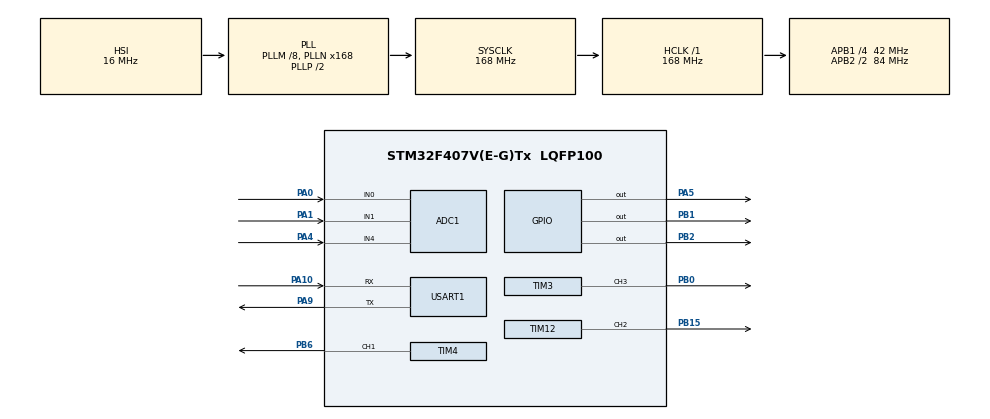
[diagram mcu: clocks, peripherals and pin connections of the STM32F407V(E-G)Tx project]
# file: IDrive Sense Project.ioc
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ADC1.Channel-1\#ChannelRegularConversion=ADC_CHANNEL_0
ADC1.NbrOfConversionFlag=1
ADC1.Rank-1\#ChannelRegularConversion=1
ADC1.SamplingTime-1\#ChannelRegularConversion=ADC_SAMPLETIME_3CYCLES
ADC1.master=1
Mcu.Family=STM32F4
Mcu.Name=STM32F407V(E-G)Tx
Mcu.Package=LQFP100
NVIC.PriorityGroup=NVIC_PRIORITYGROUP_4
PA0-WKUP.Signal=ADCx_IN0
PA1.Signal=ADCx_IN1
PA10.Mode=Asynchronous
PA10.Signal=USART1_RX
PA13.Mode=Serial_Wire
PA13.Signal=SYS_JTMS-SWDIO
PA14.Mode=Serial_Wire
PA14.Signal=SYS_JTCK-SWCLK
PA4.Signal=ADCx_IN4
PA5.Signal=GPIO_Output
PA9.Mode=Asynchronous
PA9.Signal=USART1_TX
PB0.Signal=S_TIM3_CH3
PB1.Signal=GPIO_Output
PB15.Signal=S_TIM12_CH2
PB2.GPIO_PuPd=GPIO_PULLUP
PB2.Signal=GPIO_Output
PB6.Signal=S_TIM4_CH1
PH0-OSC_IN.Mode=HSE-External-Oscillator
PH0-OSC_IN.Signal=RCC_OSC_IN
PH1-OSC_OUT.Mode=HSE-External-Oscillator
PH1-OSC_OUT.Signal=RCC_OSC_OUT
ProjectManager.HeapSize=0x200
ProjectManager.StackSize=0x400
ProjectManager.TargetToolchain=STM32CubeIDE
RCC.48MHZClocksFreq_Value=84000000
RCC.AHBFreq_Value=168000000
RCC.APB1CLKDivider=RCC_HCLK_DIV4
RCC.APB1Freq_Value=42000000
RCC.APB1TimFreq_Value=84000000
RCC.APB2CLKDivider=RCC_HCLK_DIV2
RCC.APB2Freq_Value=84000000
RCC.APB2TimFreq_Value=168000000
RCC.CortexFreq_Value=168000000
RCC.HCLKFreq_Value=168000000
RCC.HSE_VALUE=8000000
RCC.HSI_VALUE=16000000
RCC.LSE_VALUE=32768
RCC.PLLM=8
RCC.PLLN=168
RCC.SYSCLKFreq_VALUE=168000000
RCC.SYSCLKSource=RCC_SYSCLKSOURCE_PLLCLK
RCC.VCOOutputFreq_Value=336000000
SH.ADCx_IN0.0=ADC1_IN0,IN0
SH.ADCx_IN1.0=ADC1_IN1,IN1
SH.ADCx_IN4.0=ADC1_IN4,IN4
SH.S_TIM12_CH2.0=TIM12_CH2,PWM Generation2 CH2
SH.S_TIM3_CH3.0=TIM3_CH3,PWM Generation3 CH3
SH.S_TIM4_CH1.0=TIM4_CH1,PWM Generation1 CH1
TIM1.Prescaler=168 - 1
TIM12.Channel-PWM\ Generation2\ CH2=TIM_CHANNEL_2
TIM12.Period=20000 - 1
TIM12.Prescaler=84 - 1
TIM3.Channel-PWM\ Generation3\ CH3=TIM_CHANNEL_3
TIM3.Period=1000 - 1
TIM3.Prescaler=84 - 1
TIM4.Channel-PWM\ Generation1\ CH1=TIM_CHANNEL_1
TIM4.Period=20000 - 1
TIM4.Prescaler=84 - 1
USART1.VirtualMode=VM_ASYNC
VP_TIM12_VS_ClockSourceINT.Mode=Internal
VP_TIM1_VS_ClockSourceINT.Mode=Internal
VP_TIM3_VS_ClockSourceINT.Mode=Internal
VP_TIM4_VS_ClockSourceINT.Mode=Internal
board=custom

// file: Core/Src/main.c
/* USER CODE BEGIN Header */
/**
  ******************************************************************************
  * @file           : main.c
  * @brief          : Merged Project - iDrive Sense (Wiper, Window, AC, Gas, Light)
  ******************************************************************************
  */
/* USER CODE END Header */

#include "main.h"

/* USER CODE BEGIN Includes */
#include "stdbool.h"
#include <stdio.h>
#include <string.h>
/* USER CODE END Includes */

ADC_HandleTypeDef hadc1;

TIM_HandleTypeDef htim1;
TIM_HandleTypeDef htim3;
TIM_HandleTypeDef htim4;
TIM_HandleTypeDef htim12;

UART_HandleTypeDef huart1;

/* USER CODE BEGIN PV */
// ===================================================
// 1. Biến cho Mưa & Động cơ (Servo/Fan)
// ===================================================
uint16_t rainADCValue = 0;
bool isWindowClosed = false;
uint32_t previousWiperTick = 0;
uint16_t wiperDelay = 1000;
bool wiperDirection = false;

// ===================================================
// 2. Biến cho Nhiệt độ độ ẩm (DHT11) - Chân PA5
// ===================================================
uint8_t Rh_byte1, Rh_byte2, Temp_byte1, Temp_byte2;
uint16_t SUM;
uint8_t Presence = 0;
uint8_t Temperature = 0;
uint8_t Humidity = 0;

// ===================================================
// 3. Biến cho Khí thải MQ-135
// ===================================================
uint32_t mq135_adc_value;
#define MQ135_SAFE_LEVEL   600   // Trên 600: An toàn
#define MQ135_DANGER_LEVEL 450   // Dưới 450: Thổi CO2 vào -> Báo động
#define ADC_FILTER_SIZE 10

uint32_t adc_buffer[ADC_FILTER_SIZE];
uint8_t adc_index = 0;
uint32_t adc_sum = 0;
uint8_t buffer_filled = 0;

uint8_t buzzer_state = 0;  // 0: An toàn, 1: Báo động
uint32_t buzzer_timer = 0;

// ===================================================
// 4. Biến cho Ánh sáng LDR
// ===================================================
uint32_t ldr_adc_value;
#define LDR_THRESHOLD_ON  3000   // Vượt 3000 -> Bật đèn
#define LDR_THRESHOLD_OFF 2800   // Dưới 2800 -> Tắt đèn (tránh dao động)
uint8_t led_state = 0;

/* USER CODE END PV */

void SystemClock_Config(void);
static void MX_GPIO_Init(void);
static void MX_ADC1_Init(void);
static void MX_TIM1_Init(void);
static void MX_TIM3_Init(void);
static void MX_TIM4_Init(void);
static void MX_TIM12_Init(void);
static void MX_USART1_UART_Init(void);
/* USER CODE BEGIN PFP */
uint32_t Read_ADC_Channel(uint32_t channel);
uint32_t Read_ADC_Filtered(uint32_t channel);
/* USER CODE END PFP */

/* USER CODE BEGIN 0 */
int _write(int file, char *ptr, int len) {
    HAL_UART_Transmit(&huart1, (uint8_t *)ptr, len, HAL_MAX_DELAY);
    return len;
}

// -----------------------------------------------------------
// HÀM ĐỌC ADC CHUNG (Chia sẻ giữa Mưa, Khí và Ánh sáng)
// -----------------------------------------------------------
uint32_t Read_ADC_Channel(uint32_t channel) {
    ADC_ChannelConfTypeDef sConfig = {0};
    sConfig.Channel = channel;
    sConfig.Rank = 1;
    sConfig.SamplingTime = ADC_SAMPLETIME_15CYCLES;

    HAL_ADC_ConfigChannel(&hadc1, &sConfig);
    HAL_ADC_Start(&hadc1);

    uint32_t value = 0;
    if (HAL_ADC_PollForConversion(&hadc1, 10) == HAL_OK) {
        value = HAL_ADC_GetValue(&hadc1);
    }
    HAL_ADC_Stop(&hadc1);
    return value;
}

// Bộ lọc trung bình động cho cảm biến khí MQ-135
uint32_t Read_ADC_Filtered(uint32_t channel) {
    uint32_t raw = Read_ADC_Channel(channel);
    adc_sum -= adc_buffer[adc_index];
    adc_buffer[adc_index] = raw;
    adc_sum += raw;
    adc_index = (adc_index + 1) % ADC_FILTER_SIZE;
    if (adc_index == 0) buffer_filled = 1;

    uint8_t count = buffer_filled ? ADC_FILTER_SIZE : adc_index;
    if (count == 0) return raw;
    return adc_sum / count;
}

// -----------------------------------------------------------
// HÀM ĐIỀU KHIỂN ĐỘNG CƠ (Delay, Servo)
// -----------------------------------------------------------
void delay_us(uint16_t us) {
    __HAL_TIM_SET_COUNTER(&htim1, 0);
    while (__HAL_TIM_GET_COUNTER(&htim1) < us);
}

void Set_Servo_Angle(TIM_HandleTypeDef *htim, uint32_t Channel, uint8_t angle) {
    uint16_t pulse = 500 + ((angle * 2000) / 180);
    __HAL_TIM_SET_COMPARE(htim, Channel, pulse);
}

// -----------------------------------------------------------
// HÀM GIAO TIẾP DHT11 (Chân PA5)
// -----------------------------------------------------------
void Set_Pin_Output(GPIO_TypeDef *GPIOx, uint16_t GPIO_Pin) {
    GPIO_InitTypeDef GPIO_InitStruct = {0};
    GPIO_InitStruct.Pin = GPIO_Pin;
    GPIO_InitStruct.Mode = GPIO_MODE_OUTPUT_PP;
    GPIO_InitStruct.Speed = GPIO_SPEED_FREQ_LOW;
    HAL_GPIO_Init(GPIOx, &GPIO_InitStruct);
}

void Set_Pin_Input(GPIO_TypeDef *GPIOx, uint16_t GPIO_Pin) {
    GPIO_InitTypeDef GPIO_InitStruct = {0};
    GPIO_InitStruct.Pin = GPIO_Pin;
    GPIO_InitStruct.Mode = GPIO_MODE_INPUT;
    GPIO_InitStruct.Pull = GPIO_PULLUP;
    HAL_GPIO_Init(GPIOx, &GPIO_InitStruct);
}

uint8_t DHT11_Check_Response(void) {
    uint16_t timeout = 0;
    while (HAL_GPIO_ReadPin(GPIOA, GPIO_PIN_5) == GPIO_PIN_SET) {
        timeout++; delay_us(1); if (timeout > 100) return 0;
    }
    timeout = 0;
    while (HAL_GPIO_ReadPin(GPIOA, GPIO_PIN_5) == GPIO_PIN_RESET) {
        timeout++; delay_us(1); if (timeout > 100) return 0;
    }
    timeout = 0;
    while (HAL_GPIO_ReadPin(GPIOA, GPIO_PIN_5) == GPIO_PIN_SET) {
        timeout++; delay_us(1); if (timeout > 100) return 0;
    }
    return 1;
}

uint8_t DHT11_Read_Byte(void) {
    uint8_t i = 0, j;
    uint16_t timeout = 0;
    for (j = 0; j < 8; j++) {
        timeout = 0;
        while (HAL_GPIO_ReadPin(GPIOA, GPIO_PIN_5) == GPIO_PIN_RESET) {
            timeout++; delay_us(1); if (timeout > 100) return 0;
        }
        delay_us(35);
        if (HAL_GPIO_ReadPin(GPIOA, GPIO_PIN_5) == GPIO_PIN_SET) {
            i |= (1 << (7 - j));
            timeout = 0;
            while (HAL_GPIO_ReadPin(GPIOA, GPIO_PIN_5) == GPIO_PIN_SET) {
                timeout++; delay_us(1); if (timeout > 100) break;
            }
        } else {
            i &= ~(1 << (7 - j));
        }
    }
    return i;
}

void DHT11_Read_Data(void) {
    Set_Pin_Output(GPIOA, GPIO_PIN_5);
    HAL_GPIO_WritePin(GPIOA, GPIO_PIN_5, 0);
    HAL_Delay(18);

    __disable_irq();

    HAL_GPIO_WritePin(GPIOA, GPIO_PIN_5, 1);
    delay_us(30);
    Set_Pin_Input(GPIOA, GPIO_PIN_5);

    Presence = DHT11_Check_Response();
    if (Presence == 1) {
        Rh_byte1   = DHT11_Read_Byte();
        Rh_byte2   = DHT11_Read_Byte();
        Temp_byte1 = DHT11_Read_Byte();
        Temp_byte2 = DHT11_Read_Byte();
        SUM        = DHT11_Read_Byte();
    }
    __enable_irq();
}
/* USER CODE END 0 */

int main(void)
{
  HAL_Init();
  SystemClock_Config();

  MX_GPIO_Init();
  MX_ADC1_Init();
  MX_TIM1_Init();
  MX_TIM3_Init();
  MX_TIM4_Init();
  MX_TIM12_Init();
  MX_USART1_UART_Init();

  /* USER CODE BEGIN 2 */
  HAL_UART_Transmit(&huart1, (uint8_t*)"\r\n>>> MULTI-SENSOR SYSTEM INIT OK <<<\r\n", 39, 1000);

  HAL_TIM_PWM_Start(&htim12, TIM_CHANNEL_2); // Gạt mưa (PB15)
  HAL_TIM_PWM_Start(&htim4, TIM_CHANNEL_1);  // Kính xe (PB6)
  HAL_TIM_PWM_Start(&htim3, TIM_CHANNEL_3);  // Quạt (PB0)
  HAL_TIM_Base_Start(&htim1);                // Timer delay_us

  Set_Servo_Angle(&htim12, TIM_CHANNEL_2, 0);
  Set_Servo_Angle(&htim4, TIM_CHANNEL_1, 0);
  HAL_Delay(1000);

  uint32_t previousDHT11Tick = 0;
  /* USER CODE END 2 */

  /* Infinite loop */
  /* USER CODE BEGIN WHILE */
  while (1)
  {
      // =========================================================
      // 1. CẢM BIẾN MƯA (ADC1_IN1 - PA1) & CỬA KÍNH (PB6) & CẦN GẠT (PB15)
      // =========================================================
      rainADCValue = Read_ADC_Channel(ADC_CHANNEL_1);

      // --- Logic Đóng/Mở Kính Xe ---
      if (rainADCValue < 3500) {
          if (!isWindowClosed) {
              Set_Servo_Angle(&htim4, TIM_CHANNEL_1, 180); // Đóng cửa kính
              isWindowClosed = true;
          }
      } else if (rainADCValue > 4000) {
          if (isWindowClosed) {
              Set_Servo_Angle(&htim4, TIM_CHANNEL_1, 0);   // Trả về vị trí ban đầu
              isWindowClosed = false;
          }
      }

      // --- Logic Tốc Độ Cần Gạt Mưa ---
      if (rainADCValue < 3500) {
          // Phân cấp tốc độ gạt mưa dựa vào mức độ mưa
          if (rainADCValue < 2000) {
              wiperDelay = 300;   // Tốc độ 100% (Gạt rất nhanh)
          } else if (rainADCValue < 2500) {
              wiperDelay = 500;   // Tốc độ 75%
          } else if (rainADCValue < 3000) {
              wiperDelay = 800;   // Tốc độ 50%
          } else {
              wiperDelay = 1200;  // Tốc độ 25% (Gạt chậm)
          }

          // Thực hiện gạt qua lại theo chu kỳ wiperDelay
          uint32_t currentTick = HAL_GetTick();
          if (currentTick - previousWiperTick >= wiperDelay) {
              previousWiperTick = currentTick;
              if (!wiperDirection) {
                  Set_Servo_Angle(&htim12, TIM_CHANNEL_2, 180);
                  wiperDirection = true;
              } else {
                  Set_Servo_Angle(&htim12, TIM_CHANNEL_2, 0);
                  wiperDirection = false;
              }
          }
      } else { // Trời khô ráo (ADC >= 3500) -> Tắt gạt mưa
          Set_Servo_Angle(&htim12, TIM_CHANNEL_2, 0);
          wiperDirection = false;
      }

      // =========================================================
      // 2. CẢM BIẾN KHÍ MQ-135 (ADC1_IN0 - PA0)
      // =========================================================
      mq135_adc_value = Read_ADC_Filtered(ADC_CHANNEL_0);

      // Thổi CO2 vào làm giá trị ADC giảm
      if (mq135_adc_value < MQ135_DANGER_LEVEL) {
          buzzer_state = 1; // Báo động (Khi ADC < 450)
      } else if (mq135_adc_value > MQ135_SAFE_LEVEL) {
          buzzer_state = 0; // An toàn (Khi ADC > 600)
      }

      // Bật đèn cảnh báo nhấp nháy liên tục (Chu kỳ 200ms)
      if (buzzer_state == 1) {
          if (HAL_GetTick() - buzzer_timer >= 200) {
              buzzer_timer = HAL_GetTick();
              HAL_GPIO_TogglePin(GPIOB, GPIO_PIN_1); // Đảo trạng thái đèn PB1
          }
      } else {
          HAL_GPIO_WritePin(GPIOB, GPIO_PIN_1, GPIO_PIN_RESET); // Tắt đèn khi an toàn
      }

      // =========================================================
      // 3. CẢM BIẾN ÁNH SÁNG LDR (ADC1_IN4 - PA4)
      // =========================================================
      ldr_adc_value = Read_ADC_Channel(ADC_CHANNEL_4);

      if (ldr_adc_value > LDR_THRESHOLD_ON) {
          led_state = 1; // Vượt 3000 -> Tự động bật đèn cabin (PB2)
      } else if (ldr_adc_value < LDR_THRESHOLD_OFF) {
          led_state = 0; // Dưới 2800 -> Tắt đèn cabin
      }
      HAL_GPIO_WritePin(GPIOB, GPIO_PIN_2, led_state ? GPIO_PIN_SET : GPIO_PIN_RESET);

      // =========================================================
      // 4. CẢM BIẾN NHIỆT ĐỘ DHT11 (PA5) & QUẠT DC (PB0)
      // =========================================================
      if (HAL_GetTick() - previousDHT11Tick >= 1000)
      {
            previousDHT11Tick = HAL_GetTick();
            DHT11_Read_Data();

            if (Presence == 1 && ((uint8_t)(Rh_byte1 + Rh_byte2 + Temp_byte1 + Temp_byte2) == SUM)) {
                Temperature = Temp_byte1;
                Humidity    = Rh_byte1;

                if (Temperature > 30) {
                    __HAL_TIM_SET_COMPARE(&htim3, TIM_CHANNEL_3, 1000); // Quay 100%
                } else if (Temperature > 25) {
                    __HAL_TIM_SET_COMPARE(&htim3, TIM_CHANNEL_3, 750);  // Quay 75%
                } else if (Temperature > 20) {
                    __HAL_TIM_SET_COMPARE(&htim3, TIM_CHANNEL_3, 500);  // Quay 50%
                } else if (Temperature > 15) {
                    __HAL_TIM_SET_COMPARE(&htim3, TIM_CHANNEL_3, 250);  // Quay 25%
                } else {
                    __HAL_TIM_SET_COMPARE(&htim3, TIM_CHANNEL_3, 0);    // Tắt hoàn toàn
                }
            }
      }
    /* USER CODE END WHILE */

  }
}

void SystemClock_Config(void)
{
  RCC_OscInitTypeDef RCC_OscInitStruct = {0};
  RCC_ClkInitTypeDef RCC_ClkInitStruct = {0};

  __HAL_RCC_PWR_CLK_ENABLE();
  __HAL_PWR_VOLTAGESCALING_CONFIG(PWR_REGULATOR_VOLTAGE_SCALE1);

  RCC_OscInitStruct.OscillatorType = RCC_OSCILLATORTYPE_HSI;
  RCC_OscInitStruct.HSIState = RCC_HSI_ON;
  RCC_OscInitStruct.HSICalibrationValue = RCC_HSICALIBRATION_DEFAULT;
  RCC_OscInitStruct.PLL.PLLState = RCC_PLL_ON;
  RCC_OscInitStruct.PLL.PLLSource = RCC_PLLSOURCE_HSI;
  RCC_OscInitStruct.PLL.PLLM = 8;
  RCC_OscInitStruct.PLL.PLLN = 168;
  RCC_OscInitStruct.PLL.PLLP = RCC_PLLP_DIV2;
  RCC_OscInitStruct.PLL.PLLQ = 4;
  if (HAL_RCC_OscConfig(&RCC_OscInitStruct) != HAL_OK)
  {
    Error_Handler();
  }

  RCC_ClkInitStruct.ClockType = RCC_CLOCKTYPE_HCLK|RCC_CLOCKTYPE_SYSCLK
                              |RCC_CLOCKTYPE_PCLK1|RCC_CLOCKTYPE_PCLK2;
  RCC_ClkInitStruct.SYSCLKSource = RCC_SYSCLKSOURCE_PLLCLK;
  RCC_ClkInitStruct.AHBCLKDivider = RCC_SYSCLK_DIV1;
  RCC_ClkInitStruct.APB1CLKDivider = RCC_HCLK_DIV4;
  RCC_ClkInitStruct.APB2CLKDivider = RCC_HCLK_DIV2;

  if (HAL_RCC_ClockConfig(&RCC_ClkInitStruct, FLASH_LATENCY_5) != HAL_OK)
  {
    Error_Handler();
  }
}

static void MX_ADC1_Init(void)
{
  ADC_ChannelConfTypeDef sConfig = {0};

  hadc1.Instance = ADC1;
  hadc1.Init.ClockPrescaler = ADC_CLOCK_SYNC_PCLK_DIV4;
  hadc1.Init.Resolution = ADC_RESOLUTION_12B;
  hadc1.Init.ScanConvMode = DISABLE;
  hadc1.Init.ContinuousConvMode = DISABLE;
  hadc1.Init.DiscontinuousConvMode = DISABLE;
  hadc1.Init.ExternalTrigConvEdge = ADC_EXTERNALTRIGCONVEDGE_NONE;
  hadc1.Init.ExternalTrigConv = ADC_SOFTWARE_START;
  hadc1.Init.DataAlign = ADC_DATAALIGN_RIGHT;
  hadc1.Init.NbrOfConversion = 1;
  hadc1.Init.DMAContinuousRequests = DISABLE;
  hadc1.Init.EOCSelection = ADC_EOC_SINGLE_CONV;
  if (HAL_ADC_Init(&hadc1) != HAL_OK)
  {
    Error_Handler();
  }

  sConfig.Channel = ADC_CHANNEL_0;
  sConfig.Rank = 1;
  sConfig.SamplingTime = ADC_SAMPLETIME_3CYCLES;
  if (HAL_ADC_ConfigChannel(&hadc1, &sConfig) != HAL_OK)
  {
    Error_Handler();
  }
}

static void MX_TIM1_Init(void)
{
  TIM_ClockConfigTypeDef sClockSourceConfig = {0};
  TIM_MasterConfigTypeDef sMasterConfig = {0};

  htim1.Instance = TIM1;
  htim1.Init.Prescaler = 168 - 1;
  htim1.Init.CounterMode = TIM_COUNTERMODE_UP;
  htim1.Init.Period = 65535;
  htim1.Init.ClockDivision = TIM_CLOCKDIVISION_DIV1;
  htim1.Init.RepetitionCounter = 0;
  htim1.Init.AutoReloadPreload = TIM_AUTORELOAD_PRELOAD_DISABLE;
  if (HAL_TIM_Base_Init(&htim1) != HAL_OK)
  {
    Error_Handler();
  }
  sClockSourceConfig.ClockSource = TIM_CLOCKSOURCE_INTERNAL;
  if (HAL_TIM_ConfigClockSource(&htim1, &sClockSourceConfig) != HAL_OK)
  {
    Error_Handler();
  }
  sMasterConfig.MasterOutputTrigger = TIM_TRGO_RESET;
  sMasterConfig.MasterSlaveMode = TIM_MASTERSLAVEMODE_DISABLE;
  if (HAL_TIMEx_MasterConfigSynchronization(&htim1, &sMasterConfig) != HAL_OK)
  {
    Error_Handler();
  }
}

static void MX_TIM3_Init(void)
{
  TIM_ClockConfigTypeDef sClockSourceConfig = {0};
  TIM_MasterConfigTypeDef sMasterConfig = {0};
  TIM_OC_InitTypeDef sConfigOC = {0};

  htim3.Instance = TIM3;
  htim3.Init.Prescaler = 84 - 1;
  htim3.Init.CounterMode = TIM_COUNTERMODE_UP;
  htim3.Init.Period = 1000 - 1;
  htim3.Init.ClockDivision = TIM_CLOCKDIVISION_DIV1;
  htim3.Init.AutoReloadPreload = TIM_AUTORELOAD_PRELOAD_DISABLE;
  if (HAL_TIM_Base_Init(&htim3) != HAL_OK)
  {
    Error_Handler();
  }
  sClockSourceConfig.ClockSource = TIM_CLOCKSOURCE_INTERNAL;
  if (HAL_TIM_ConfigClockSource(&htim3, &sClockSourceConfig) != HAL_OK)
  {
    Error_Handler();
  }
  if (HAL_TIM_PWM_Init(&htim3) != HAL_OK)
  {
    Error_Handler();
  }
  sMasterConfig.MasterOutputTrigger = TIM_TRGO_RESET;
  sMasterConfig.MasterSlaveMode = TIM_MASTERSLAVEMODE_DISABLE;
  if (HAL_TIMEx_MasterConfigSynchronization(&htim3, &sMasterConfig) != HAL_OK)
  {
    Error_Handler();
  }
  sConfigOC.OCMode = TIM_OCMODE_PWM1;
  sConfigOC.Pulse = 0;
  sConfigOC.OCPolarity = TIM_OCPOLARITY_HIGH;
  sConfigOC.OCFastMode = TIM_OCFAST_DISABLE;
  if (HAL_TIM_PWM_ConfigChannel(&htim3, &sConfigOC, TIM_CHANNEL_3) != HAL_OK)
  {
    Error_Handler();
  }
  HAL_TIM_MspPostInit(&htim3);
}

static void MX_TIM4_Init(void)
{
  TIM_ClockConfigTypeDef sClockSourceConfig = {0};
  TIM_MasterConfigTypeDef sMasterConfig = {0};
  TIM_OC_InitTypeDef sConfigOC = {0};

  htim4.Instance = TIM4;
  htim4.Init.Prescaler = 84 - 1;
  htim4.Init.CounterMode = TIM_COUNTERMODE_UP;
  htim4.Init.Period = 20000 - 1;
  htim4.Init.ClockDivision = TIM_CLOCKDIVISION_DIV1;
  htim4.Init.AutoReloadPreload = TIM_AUTORELOAD_PRELOAD_DISABLE;
  if (HAL_TIM_Base_Init(&htim4) != HAL_OK)
  {
    Error_Handler();
  }
  sClockSourceConfig.ClockSource = TIM_CLOCKSOURCE_INTERNAL;
  if (HAL_TIM_ConfigClockSource(&htim4, &sClockSourceConfig) != HAL_OK)
  {
    Error_Handler();
  }
  if (HAL_TIM_PWM_Init(&htim4) != HAL_OK)
  {
    Error_Handler();
  }
  sMasterConfig.MasterOutputTrigger = TIM_TRGO_RESET;
  sMasterConfig.MasterSlaveMode = TIM_MASTERSLAVEMODE_DISABLE;
  if (HAL_TIMEx_MasterConfigSynchronization(&htim4, &sMasterConfig) != HAL_OK)
  {
    Error_Handler();
  }
  sConfigOC.OCMode = TIM_OCMODE_PWM1;
  sConfigOC.Pulse = 0;
  sConfigOC.OCPolarity = TIM_OCPOLARITY_HIGH;
  sConfigOC.OCFastMode = TIM_OCFAST_DISABLE;
  if (HAL_TIM_PWM_ConfigChannel(&htim4, &sConfigOC, TIM_CHANNEL_1) != HAL_OK)
  {
    Error_Handler();
  }
  HAL_TIM_MspPostInit(&htim4);
}

static void MX_TIM12_Init(void)
{
  TIM_ClockConfigTypeDef sClockSourceConfig = {0};
  TIM_OC_InitTypeDef sConfigOC = {0};

  htim12.Instance = TIM12;
  htim12.Init.Prescaler = 84 - 1;
  htim12.Init.CounterMode = TIM_COUNTERMODE_UP;
  htim12.Init.Period = 20000 - 1;
  htim12.Init.ClockDivision = TIM_CLOCKDIVISION_DIV1;
  htim12.Init.AutoReloadPreload = TIM_AUTORELOAD_PRELOAD_DISABLE;
  if (HAL_TIM_Base_Init(&htim12) != HAL_OK)
  {
    Error_Handler();
  }
  sClockSourceConfig.ClockSource = TIM_CLOCKSOURCE_INTERNAL;
  if (HAL_TIM_ConfigClockSource(&htim12, &sClockSourceConfig) != HAL_OK)
  {
    Error_Handler();
  }
  if (HAL_TIM_PWM_Init(&htim12) != HAL_OK)
  {
    Error_Handler();
  }
  sConfigOC.OCMode = TIM_OCMODE_PWM1;
  sConfigOC.Pulse = 0;
  sConfigOC.OCPolarity = TIM_OCPOLARITY_HIGH;
  sConfigOC.OCFastMode = TIM_OCFAST_DISABLE;
  if (HAL_TIM_PWM_ConfigChannel(&htim12, &sConfigOC, TIM_CHANNEL_2) != HAL_OK)
  {
    Error_Handler();
  }
  HAL_TIM_MspPostInit(&htim12);
}

static void MX_USART1_UART_Init(void)
{
  huart1.Instance = USART1;
  huart1.Init.BaudRate = 115200;
  huart1.Init.WordLength = UART_WORDLENGTH_8B;
  huart1.Init.StopBits = UART_STOPBITS_1;
  huart1.Init.Parity = UART_PARITY_NONE;
  huart1.Init.Mode = UART_MODE_TX_RX;
  huart1.Init.HwFlowCtl = UART_HWCONTROL_NONE;
  huart1.Init.OverSampling = UART_OVERSAMPLING_16;
  if (HAL_UART_Init(&huart1) != HAL_OK)
  {
    Error_Handler();
  }
}

static void MX_GPIO_Init(void)
{
  GPIO_InitTypeDef GPIO_InitStruct = {0};

  __HAL_RCC_GPIOH_CLK_ENABLE();
  __HAL_RCC_GPIOA_CLK_ENABLE();
  __HAL_RCC_GPIOB_CLK_ENABLE();

  HAL_GPIO_WritePin(GPIOA, GPIO_PIN_5, GPIO_PIN_RESET);
  HAL_GPIO_WritePin(GPIOB, GPIO_PIN_1|GPIO_PIN_2, GPIO_PIN_RESET);

  GPIO_InitStruct.Pin = GPIO_PIN_5;
  GPIO_InitStruct.Mode = GPIO_MODE_OUTPUT_PP;
  GPIO_InitStruct.Pull = GPIO_NOPULL;
  GPIO_InitStruct.Speed = GPIO_SPEED_FREQ_LOW;
  HAL_GPIO_Init(GPIOA, &GPIO_InitStruct);

  GPIO_InitStruct.Pin = GPIO_PIN_1;
  GPIO_InitStruct.Mode = GPIO_MODE_OUTPUT_PP;
  GPIO_InitStruct.Pull = GPIO_NOPULL;
  GPIO_InitStruct.Speed = GPIO_SPEED_FREQ_LOW;
  HAL_GPIO_Init(GPIOB, &GPIO_InitStruct);

  GPIO_InitStruct.Pin = GPIO_PIN_2;
  GPIO_InitStruct.Mode = GPIO_MODE_OUTPUT_PP;
  GPIO_InitStruct.Pull = GPIO_PULLUP;
  GPIO_InitStruct.Speed = GPIO_SPEED_FREQ_LOW;
  HAL_GPIO_Init(GPIOB, &GPIO_InitStruct);
}

void Error_Handler(void)
{
  __disable_irq();
  while (1)
  {
  }
}
